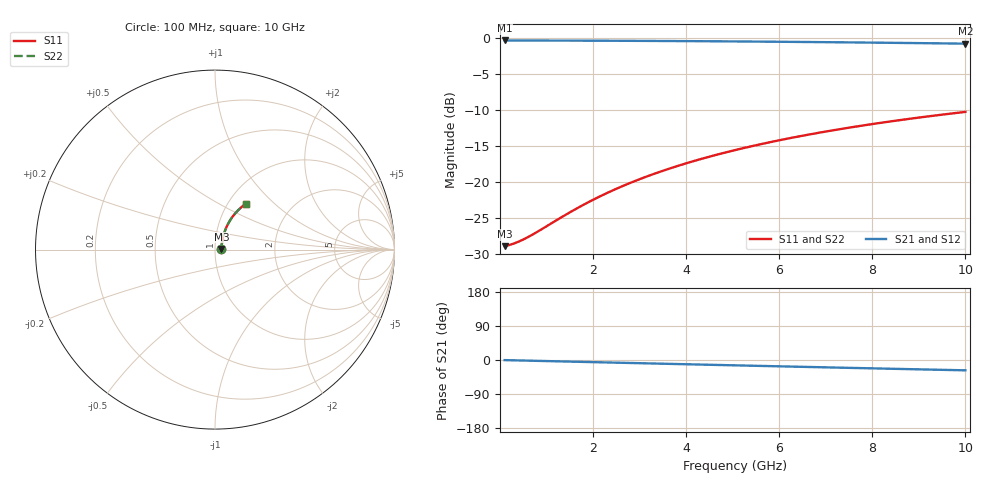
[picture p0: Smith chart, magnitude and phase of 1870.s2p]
# Hz S RI R 50.00
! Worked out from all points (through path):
!   100 points, 100 MHz to 10 GHz, reference 50 ohm
!   highest |S21| = -0.31 dB at 100 MHz (marker M1); lowest = -0.8 dB at 10 GHz (marker M2)
!   group delay of S21, straight-line fit = 7.59 ps
!   lowest |S11| = -28.9 dB at 100 MHz (marker M3), VSWR 1.07, Z = 53.7 + j0.334 ohm
!   |S11| at or under -10 dB: start of sweep to end of sweep
!   |S22| runs from -28.9 to -10.3 dB; largest |S21 - S12| = 0
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1e8  0.0356 0.00311  0.9644 -0.00474  0.9644 -0.00474  0.0356 0.00311
2e8  0.0358 0.00621  0.9641 -0.00948  0.9641 -0.00948  0.0358 0.00621
3e8  0.0361 0.0093  0.9639 -0.0142  0.9639 -0.0142  0.0361 0.0093
4e8  0.0363 0.0124  0.9636 -0.019  0.9636 -0.019  0.0363 0.0124
6e8  0.0368 0.0186  0.9631 -0.0284  0.9631 -0.0284  0.0368 0.0186
8e8  0.0374 0.0248  0.9625 -0.0379  0.9625 -0.0379  0.0374 0.0248
1.4e9  0.0398 0.0432  0.9599 -0.0661  0.9599 -0.0661  0.0398 0.0432
1.8e9  0.042 0.0553  0.9576 -0.0848  0.9576 -0.0848  0.042 0.0553
2.2e9  0.0445 0.0674  0.9548 -0.1035  0.9548 -0.1035  0.0445 0.0674
2.6e9  0.0476 0.0793  0.9515 -0.1219  0.9515 -0.1219  0.0476 0.0793
3e9  0.051 0.0911  0.9477 -0.1403  0.9477 -0.1403  0.051 0.0911
3.4e9  0.055 0.1027  0.9434 -0.1584  0.9434 -0.1584  0.055 0.1027
3.8e9  0.0593 0.1141  0.9387 -0.1764  0.9387 -0.1764  0.0593 0.1141
4.2e9  0.0641 0.1253  0.9335 -0.1942  0.9335 -0.1942  0.0641 0.1253
4.6e9  0.0692 0.1362  0.9278 -0.2117  0.9278 -0.2117  0.0692 0.1362
5.1e9  0.0762 0.1496  0.9201 -0.2333  0.9201 -0.2333  0.0762 0.1496
5.9e9  0.0887 0.1701  0.9064 -0.267  0.9064 -0.267  0.0887 0.1701
6.7e9  0.1025 0.1894  0.8912 -0.2995  0.8912 -0.2995  0.1025 0.1894
7.5e9  0.1176 0.2074  0.8745 -0.3308  0.8745 -0.3308  0.1176 0.2074
8.4e9  0.1359 0.226  0.8542 -0.3643  0.8542 -0.3643  0.1359 0.226
9.2e9  0.1533 0.2411  0.8349 -0.3927  0.8349 -0.3927  0.1533 0.2411
1e10  0.1714 0.2547  0.8146 -0.4196  0.8146 -0.4196  0.1714 0.2547
